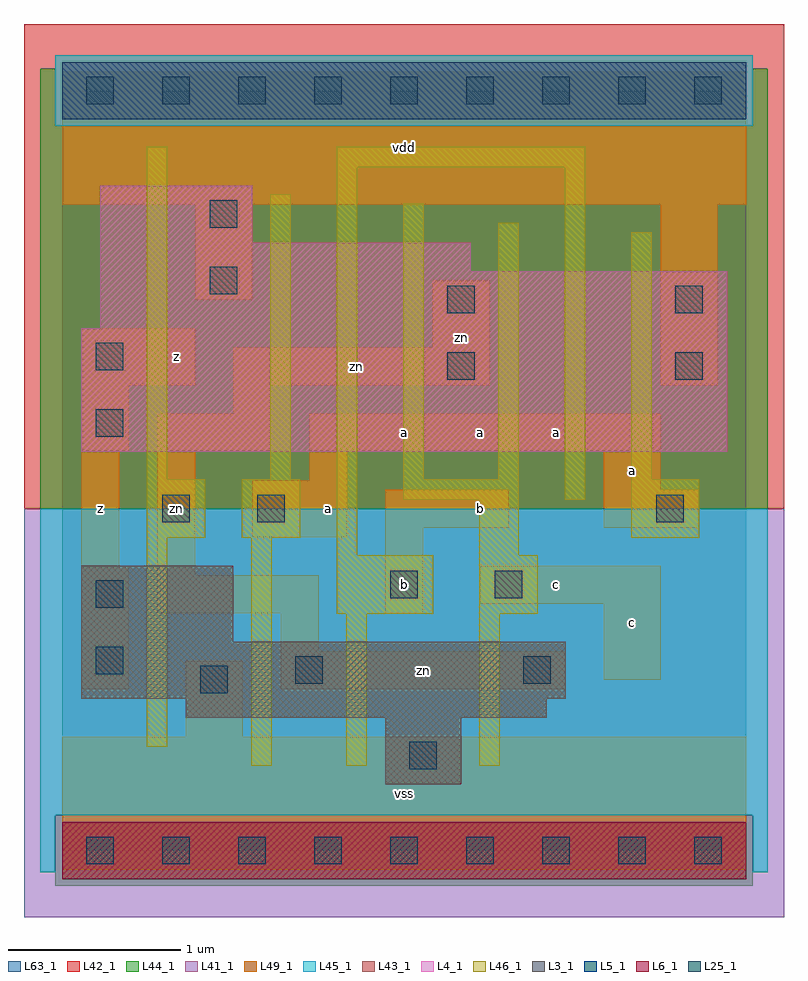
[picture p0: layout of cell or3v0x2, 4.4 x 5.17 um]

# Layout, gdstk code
import gdstk
lib = gdstk.Library(unit=1e-6, precision=1e-09)
def R(c, l, rs):  # rectangles x0, y0, x1, y1
    for r in rs: c.add(gdstk.rectangle(r[:2], r[2:], *l))
def A(c, l, x, y, w, h, nx, ny, dx, dy):  # array of equal rectangles
    R(c, l, [(x+i*dx, y+j*dy, x+i*dx+w, y+j*dy+h) for i in range(nx) for j in range(ny)])
L3_1 = (3, 1)
L4_1 = (4, 1)
L5_1 = (5, 1)
L6_1 = (6, 1)
L25_1 = (25, 1)
L41_1 = (41, 1)
L42_1 = (42, 1)
L43_1 = (43, 1)
L44_1 = (44, 1)
L45_1 = (45, 1)
L46_1 = (46, 1)
L49_1 = (49, 1)
L63_1 = (63, 1)

or3v0x2 = lib.new_cell('or3v0x2')
R(or3v0x2, L3_1, [(1.87,0.385,2.31,0.77), (0.715,0.77,2.805,0.88), (0.11,0.88,2.915,1.21), (0.11,1.21,0.99,1.65)])
R(or3v0x2, L4_1, [(0.11,2.31,3.85,3.025), (0.22,3.025,3.85,3.355), (0.22,3.355,2.365,3.52), (0.22,3.52,1.1,3.85)])
R(or3v0x2, L5_1, [(0,4.235,3.96,4.565)])
R(or3v0x2, L6_1, [(0,-0.165,3.96,0.165)])
A(or3v0x2, L25_1, 0.14, -0.08, 0.16, 0.16, 9, 2, 0.44, 4.4)
R(or3v0x2, L25_1, [(2.01,0.47,2.17,0.63), (0.8,0.91,0.96,1.07), (1.35,0.965,1.51,1.125), (2.67,0.965,2.83,1.125), (0.195,1.02,0.355,1.18), (0.195,1.405,0.355,1.565), (1.9,1.46,2.06,1.62), (2.505,1.46,2.665,1.62), (0.58,1.9,0.74,2.06), (1.13,1.9,1.29,2.06), (3.44,1.9,3.6,2.06), (0.195,2.395,0.355,2.555), (2.23,2.725,2.39,2.885), (3.55,2.725,3.71,2.885), (0.195,2.78,0.355,2.94), (2.23,3.11,2.39,3.27), (3.55,3.11,3.71,3.27), (0.855,3.22,1.015,3.38), (0.855,3.605,1.015,3.765)])
R(or3v0x2, L41_1, [(-0.22,-0.385,4.18,1.98)])
R(or3v0x2, L42_1, [(-0.22,1.98,4.18,4.785)])
R(or3v0x2, L43_1, [(0,-0.165,3.96,0.165), (1.87,0.385,2.31,0.77), (0.715,0.77,2.805,0.88), (0.11,0.88,2.915,1.21), (0.11,1.21,0.99,1.65), (0.11,2.31,3.85,3.025), (0.22,3.025,3.85,3.355), (0.22,3.355,2.365,3.52), (0.22,3.52,1.1,3.85), (0,4.235,3.96,4.565)])
R(or3v0x2, L44_1, [(-0.04,-0.205,4,0.205), (-0.125,1.98,4.085,4.195), (-0.125,4.195,-0.04,4.525), (4,4.195,4.085,4.525)])
R(or3v0x2, L45_1, [(-0.125,-0.125,-0.04,0.205), (4,-0.125,4.085,0.205), (-0.125,0.205,4.085,1.98), (-0.04,4.195,4,4.605)])
R(or3v0x2, L46_1, [(1.095,0.49,1.215,1.81), (1.645,0.49,1.765,1.37), (2.415,0.49,2.535,1.37), (0.49,0.6,0.61,1.81), (1.59,1.37,2.15,1.71), (2.415,1.37,2.755,1.71), (1.59,1.71,1.71,3.955), (2.415,1.71,2.645,2.03), (0.49,1.81,0.83,2.15), (1.04,1.81,1.38,2.15), (3.295,1.81,3.69,2.15), (1.975,2.03,2.645,2.15), (2.91,2.03,3.03,3.955), (0.49,2.15,0.61,4.075), (1.205,2.15,1.325,3.8), (1.975,2.15,2.095,3.745), (2.525,2.15,2.645,3.635), (3.295,2.15,3.415,3.58), (1.59,3.955,3.03,4.075)])
R(or3v0x2, L49_1, [(0,-0.11,3.96,0.66), (0.715,0.66,1.045,1.1), (0.11,0.935,0.385,1.65), (1.265,0.935,2.915,1.155), (3.135,0.99,3.465,1.43), (1.265,1.155,1.485,1.375), (0.55,1.375,1.485,1.595), (1.87,1.375,2.09,1.87), (2.42,1.43,3.465,1.65), (0.55,1.595,0.77,2.31), (0.11,1.65,0.33,2.31), (1.1,1.815,1.65,2.145), (1.87,1.87,2.585,2.09), (3.135,1.87,3.685,2.09), (3.135,2.09,3.465,2.31), (1.43,2.145,1.65,2.31), (0.11,2.31,0.385,2.695), (0.55,2.31,1.21,2.53), (1.43,2.31,3.465,2.53), (0.99,2.53,1.21,2.695), (0.11,2.695,0.77,3.025), (0.99,2.695,2.475,2.915), (3.465,2.695,3.795,3.74), (2.145,2.915,2.475,3.3), (0.77,3.19,1.1,3.74), (0,3.74,3.96,4.51)])
R(or3v0x2, L63_1, [(0,0,3.96,4.4)])
or3v0x2.add(gdstk.Label('zn', (0.66,1.98), layer=49, texttype=1))
or3v0x2.add(gdstk.Label('z', (0.22,1.98), layer=49, texttype=1))
or3v0x2.add(gdstk.Label('zn', (0.66,1.925), layer=49, texttype=1))
or3v0x2.add(gdstk.Label('z', (0.66,2.86), layer=49, texttype=1))
or3v0x2.add(gdstk.Label('vss', (1.98,0.33), layer=49, texttype=1))
or3v0x2.add(gdstk.Label('b', (1.98,1.54), layer=49, texttype=1))
or3v0x2.add(gdstk.Label('a', (1.54,1.98), layer=49, texttype=1))
or3v0x2.add(gdstk.Label('a', (1.98,2.42), layer=49, texttype=1))
or3v0x2.add(gdstk.Label('vdd', (1.98,4.07), layer=49, texttype=1))
or3v0x2.add(gdstk.Label('zn', (2.09,1.045), layer=49, texttype=1))
or3v0x2.add(gdstk.Label('c', (2.86,1.54), layer=49, texttype=1))
or3v0x2.add(gdstk.Label('b', (2.42,1.98), layer=49, texttype=1))
or3v0x2.add(gdstk.Label('a', (2.42,2.42), layer=49, texttype=1))
or3v0x2.add(gdstk.Label('a', (2.86,2.42), layer=49, texttype=1))
or3v0x2.add(gdstk.Label('zn', (2.31,2.97), layer=49, texttype=1))
or3v0x2.add(gdstk.Label('zn', (1.705,2.805), layer=49, texttype=1))
or3v0x2.add(gdstk.Label('c', (3.3,1.32), layer=49, texttype=1))
or3v0x2.add(gdstk.Label('a', (3.3,2.2), layer=49, texttype=1))

lib.write_gds('or3v0x2.gds')
